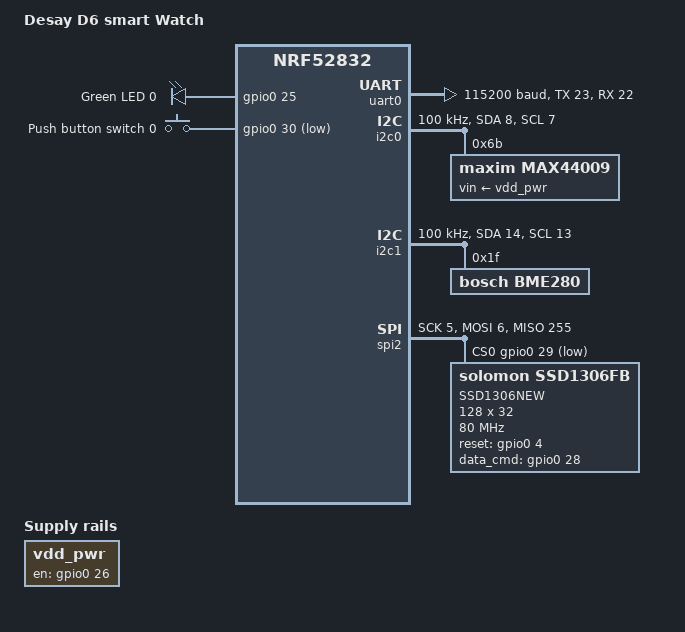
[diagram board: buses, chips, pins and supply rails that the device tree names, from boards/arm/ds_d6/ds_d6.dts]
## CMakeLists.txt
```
# SPDX-License-Identifier: Apache-2.0

cmake_minimum_required(VERSION 3.13.1)
list(APPEND ZEPHYR_EXTRA_MODULES
  ${CMAKE_CURRENT_SOURCE_DIR}/drivers
  )



# Add the board

list(APPEND BOARD_ROOT ${CMAKE_CURRENT_LIST_DIR})

find_package(Zephyr REQUIRED HINTS $ENV{ZEPHYR_BASE})
project(lvgl)

FILE(GLOB app_sources src/*.c)
target_sources(app PRIVATE ${app_sources})
```

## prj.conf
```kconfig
#CONFIG_HEAP_MEM_POOL_SIZE=16384
#CONFIG_MAIN_STACK_SIZE=2048

CONFIG_DEBUG=y 
CONFIG_LOG=y
##jj remove debug in production
CONFIG_DISPLAY=y
CONFIG_DISPLAY_LOG_LEVEL_ERR=y
CONFIG_LVGL=y
CONFIG_LVGL_USE_LABEL=y
CONFIG_LVGL_USE_CONT=y
CONFIG_LVGL_USE_BTN=y
CONFIG_LVGL_USE_LED=y
CONFIG_LVGL_USE_THEME_MATERIAL=n
CONFIG_USE_SEGGER_RTT=y
CONFIG_LVGL_USE_API_EXTENSION_V7=y
CONFIG_LVGL_FONT_UNSCII_8=n
CONFIG_LVGL_USE_THEME_MONO=y
CONFIG_LVGL_THEME_DEFAULT_COLOR_PRIMARY_WHITE=y
CONFIG_LVGL_FONT_MONTSERRAT_28=y
```

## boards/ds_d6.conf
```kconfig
CONFIG_HEAP_MEM_POOL_SIZE=16384
CONFIG_MAIN_STACK_SIZE=2048

CONFIG_SSD1306NEW=y
CONFIG_LVGL_FONT_MONTSERRAT_28=y
CONFIG_LVGL_FONT_MONTSERRAT_14=n
CONFIG_LVGL_DISPLAY_DEV_NAME="SSD1306NEW"
CONFIG_LOG=y
CONFIG_USE_SEGGER_RTT=y
CONFIG_SHELL=y
CONFIG_SHELL_BACKEND_RTT=y
```

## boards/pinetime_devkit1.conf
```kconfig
CONFIG_HEAP_MEM_POOL_SIZE=16384
CONFIG_MAIN_STACK_SIZE=2048

CONFIG_ST7789V=y
CONFIG_LVGL_FONT_MONTSERRAT_28=y
CONFIG_LVGL_FONT_MONTSERRAT_14=n
#CONFIG_KSCAN2=y
#CONFIG_KSCAN_FT5336_PERIOD=10
#CONFIG_KSCANR2_INIT_PRIORITY=40
#CONFIG_KSCAN_FT5336=y
CONFIG_LVGL_DISPLAY_DEV_NAME="ST7789V"
CONFIG_LOG=y
CONFIG_USE_SEGGER_RTT=y
CONFIG_SHELL=y
CONFIG_SHELL_BACKEND_RTT=y
```

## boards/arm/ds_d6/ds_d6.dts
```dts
/*
* Copyright (c) 2019 Nordic Semiconductor ASA
*
* SPDX-License-Identifier: LicenseRef-BSD-5-Clause-Nordic
*/

/dts-v1/;
#include <nordic/nrf52832_qfaa.dtsi>

/ {
model = "Desay D6 smart Watch";
compatible = "nordic, nrf52832";

chosen {
	zephyr,console = &uart0;
	zephyr,shell-uart = &uart0;
	zephyr,uart-mcumgr = &uart0;
	zephyr,bt-mon-uart = &uart0;
	zephyr,bt-c2h-uart = &uart0;

	zephyr,sram = &sram0;
	zephyr,flash = &flash0;
	zephyr,code-partition = &slot0_partition;
};
leds    {
	compatible = "gpio-leds";
                led0_green: led_0 {
/*pin 25 is the motor*/
                       gpios = <&gpio0 25 GPIO_ACTIVE_HIGH>; //this is heart rate sensor led
                       label = "Green LED 0";
	//	       default-state = "on";
                };

        };


	buttons {
		compatible = "gpio-keys";
		button0: button_0 {
			gpios = <&gpio0 30 (GPIO_PULL_UP | GPIO_ACTIVE_LOW)>;
			label = "Push button switch 0";
		};
	};

        
        vdd_pwr: vdd-pwr-ctrl {
		compatible = "regulator-fixed";
                label = "vdd-pwr-ctrl";
                regulator-name = "vdd-pwr-ctrl";
                enable-gpios = <&gpio0 26 GPIO_ACTIVE_HIGH>;
                regulator-boot-on;
        };


	aliases {
		sw0 = &button0;
		led0 = &led0_green;
/*		led2 = &led2_blue;
		led0-green = &led0_green;
		led1-red   = &led1_red;
		led2-blue  = &led2_blue;*/
	};

};

&gpiote {
	status = "okay";
};

&gpio0 {
	status = "okay";
};
&uart0 {
	status = "okay";
	compatible = "nordic,nrf-uart";
	current-speed = <115200>;
	tx-pin = <23>;
	rx-pin = <22>;
};

&i2c0 {
	compatible = "nordic,nrf-twi";
	status = "okay";
	sda-pin = <8>;
	scl-pin = <7>;
	clock-frequency = <100000>;
	max44009@6b {
		//power-gpios = <&gpio0 26 1>;
		compatible = "maxim,max44009";
		reg=<0x6b>;
		label="MAX44009";
                vin-supply = <&vdd_pwr>;
	};
};


&i2c1 {
	compatible = "nordic,nrf-twi";
	status = "okay";
	sda-pin = <14>;
	scl-pin = <13>;
	clock-frequency = <100000>;
	BME280@1f {
		compatible = "bosch,bme280";
		reg=<0x1f>;
		label="BME280";
	};
};




&flash0 {
	/*
	 * For more information, see:
	 * http://docs.zephyrproject.org/latest/guides/dts/index.html#flash-partitions
	 */
	partitions {
		compatible = "fixed-partitions";
		#address-cells = <1>;
		#size-cells = <1>;

		boot_partition: partition@0 {
			label = "mcuboot";
			reg = <0x00000000 0x0000C000>;
		};
		slot0_partition: partition@c000 {
			label = "image-0";
			reg = <0x0000C000 0x00032000>;
		};
		slot1_partition: partition@3e000 {
			label = "image-1";
			reg = <0x0003e000 0x00032000>;
		};
		scratch_partition: partition@70000 {
			label = "image-scratch";
			reg = <0x00070000 0x0000a000>;
		};
		storage_partition: partition@7a000 {
			label = "storage";
			reg = <0x0007a000 0x00006000>;
		};
	};
};


&spi2 {
        compatible = "nordic,nrf-spi";
        status = "okay";
        sck-pin = <5>;
        mosi-pin = <6>;
        miso-pin = <0xFF>;
       // cs-gpios = <&gpio0 29 (GPIO_ACTIVE_LOW)>;
        cs-gpios = <&gpio0 29 (GPIO_ACTIVE_LOW)>;
        ssd1306new@0 {
                compatible = "solomon,ssd1306fb";
        	spi-max-frequency = <80000000>; 
                label = "SSD1306NEW";
                reg = <0>;
		segment-offset = <0>;
		page-offset = <0>;
		display-offset = <0>; 
		multiplex-ratio = <31>;
		height = <32>;
		width = <128>;
		segment-remap;
//		com-invdir;
//alternative 0x12		com-sequential;
		prechargep = <0xF1>;
		reset-gpios = <&gpio0 4 0>;
                data_cmd-gpios = <&gpio0 28 0>;
        };
};
```

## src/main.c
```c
/*
 * Copyright (c) 2018 Jan Van Winkel <jan.van_winkel@dxplore.eu>
 *
 * SPDX-License-Identifier: Apache-2.0
 * Copyright (c) 2021  <najnesnaj@yahoo.com>
 */

#include <device.h>
#include <drivers/display.h>
#include <lvgl.h>
//#include <lv_style.h>
#include <stdio.h>
#include <string.h>
#include <zephyr.h>
#include <drivers/gpio.h>

#define LOG_LEVEL CONFIG_LOG_DEFAULT_LEVEL
#include <logging/log.h>

#if defined(CONFIG_BOARD_PINETIME_DEVKIT1)


#define LED0_NODE DT_ALIAS(led1)

#if DT_NODE_HAS_STATUS(LED0_NODE, okay)
#define LED0    DT_GPIO_LABEL(LED0_NODE, gpios)
#define PIN     DT_GPIO_PIN(LED0_NODE, gpios)
#define FLAGS   DT_GPIO_FLAGS(LED0_NODE, gpios)
#endif

static void backlight_init(void)
{
        const struct device *dev;

        dev = device_get_binding(LED0);
        /* If you have a backlight, set it up and turn it on here */
        gpio_pin_configure(dev, PIN, GPIO_OUTPUT_ACTIVE | FLAGS);
        //   gpio_pin_configure(dev, LED, GPIO_DIR_OUT);
        gpio_pin_set(dev, PIN, 1);
        //gpio_pin_write(dev, LED, 0);
}

#endif



LOG_MODULE_REGISTER(app);





void main(void)
{
	uint32_t count = 0U;
	char count_str[11] = {0};
	const struct device *display_dev;
	lv_obj_t *hello_world_label;
//	lv_obj_t *count_label;
#if defined(CONFIG_BOARD_PINETIME_DEVKIT1)
 backlight_init();
#endif

	display_dev = device_get_binding(CONFIG_LVGL_DISPLAY_DEV_NAME);

	if (display_dev == NULL) {
		LOG_ERR("device not found.  Aborting test.");
		return;
	}
	hello_world_label = lv_label_create(lv_scr_act(), NULL);
	lv_label_set_text(hello_world_label, "Flater");
	lv_obj_align(hello_world_label, NULL, LV_ALIGN_CENTER, 0, 0);

	//	count_label = lv_label_create(lv_scr_act(), NULL);
	//	lv_obj_align(count_label, NULL, LV_ALIGN_IN_BOTTOM_MID, 0, 0);

	lv_task_handler();
	display_blanking_on(display_dev);
		k_sleep(K_MSEC(1000));
	display_blanking_off(display_dev);

	while (1) {
		if ((count % 100) == 0U) {
			sprintf(count_str, "%d", count/100U);
			//lv_label_set_text(count_label, count_str);		
		}
		lv_task_handler();
		k_sleep(K_MSEC(1000));
		++count;
	}
}
```
